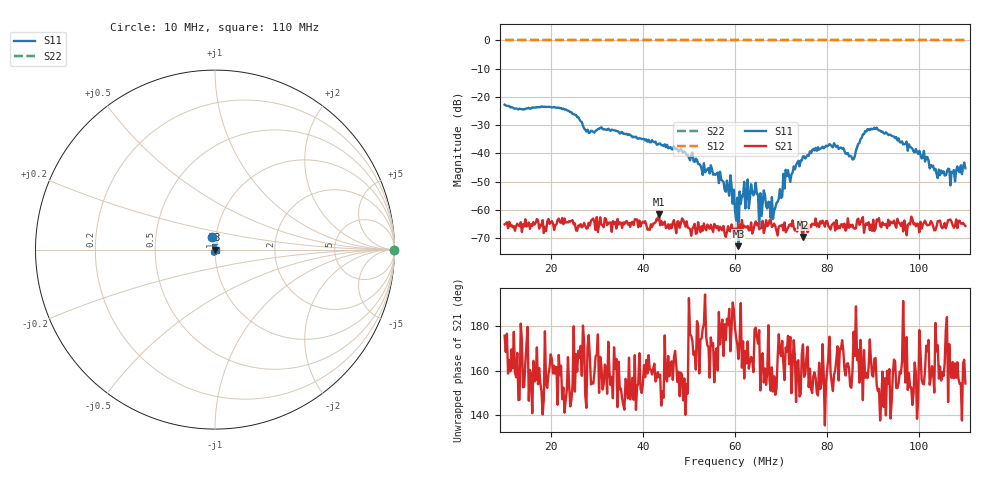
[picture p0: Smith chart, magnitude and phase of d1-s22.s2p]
! Anritsu VNA Master:  Model: MS2034B/10/19/501
! SN:  1337062
! /bd0/ovro-jan-2016/d1-s22.s2p
! Existing Calibration Information:
! TYPE:  Current Settings,  Active Cal Settings
! TIME:  01/08/2016 01:37:04 PM,  01/08/2016 01:28:30 PM
! INTERNAL TEMP:  47.8 C,  48.5 C
! # POINTS:  401,  401
! START FREQ:  10.000 MHz,  10.000 MHz
! STOP FREQ:  110.000 MHz,  110.000 MHz
! SOURCE POWER:  Low,  Low
! IFBW:  100 Hz,  100 Hz
! AVG FACTOR:  1 ,  1
! REF PLANE 1:  0 mm,  0 mm
! REF PLANE 2:  0 mm,  0 mm
! CAL TYPE:  Full S11,  Full S11
! CAL METHOD:  SOLT,  SOLT
! CAL LINE TYPE:  Coax,  Coax
! DUT PORT 1:  K-Conn(M),  K-Conn(M)
! DUT PORT 2:  N-Conn(M),  N-Conn(M)
! CAL STATUS:  OK: Accuracy High,  --
# GHZ S DB R 50.0
! FREQ.GHZ  S11DB  S11A  S21DB  S21A  S12DB  S12A  S22DB  S22A
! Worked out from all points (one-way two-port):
!   401 points, 10 MHz to 110 MHz, reference 50 ohm
!   highest |S21| = -61.60 dB at 43.5 MHz (marker M1); lowest = -69.6 dB at 74.75 MHz (marker M2)
!   lowest |S11| = -72.9 dB at 60.75 MHz (marker M3), VSWR 1.00, Z = 50 - j0.00894 ohm
!   |S11| at or under -10 dB: start of sweep to end of sweep
!   |S22| runs from 0.0 to 0.0 dB; largest |S21 - S12| = 1
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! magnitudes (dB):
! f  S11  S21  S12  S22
! 10 MHz  -22.7  -65.1  0.0  0.0
! 22.25 MHz  -24.0  -64.6  0.0  0.0
! 26.75 MHz  -28.9  -66.2  0.0  0.0
! 43.5 MHz  -36.6  -61.6  0.0  0.0
! 56.25 MHz  -46.7  -65.7  0.0  0.0
! 58.75 MHz  -55.0  -67.4  0.0  0.0
! 60 MHz  -60.4  -66.6  0.0  0.0
! 60.75 MHz  -72.9  -67.8  0.0  0.0
! 61.5 MHz  -54.9  -63.6  0.0  0.0
! 64 MHz  -54.9  -67.2  0.0  0.0
! 65.5 MHz  -54.1  -66.5  0.0  0.0
! 66.75 MHz  -58.6  -63.7  0.0  0.0
! 68.25 MHz  -63.3  -65.6  0.0  0.0
! 71 MHz  -45.8  -68.0  0.0  0.0
! 74.75 MHz  -41.1  -69.6  0.0  0.0
! 76.75 MHz  -38.8  -64.9  0.0  0.0
! 81 MHz  -37.5  -65.3  0.0  0.0
! 85.5 MHz  -42.2  -65.3  0.0  0.0
! 88.75 MHz  -31.5  -65.4  0.0  0.0
! 93.5 MHz  -33.4  -65.6  0.0  0.0
! 104 MHz  -48.7  -64.0  0.0  0.0
! 110 MHz  -45.3  -65.7  0.0  0.0
